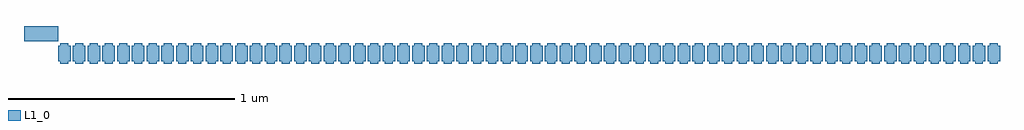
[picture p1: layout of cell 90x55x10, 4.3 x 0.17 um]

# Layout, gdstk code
import gdstk
lib = gdstk.Library(unit=1e-6, precision=1e-09)
def R(c, l, rs):  # rectangles x0, y0, x1, y1
    for r in rs: c.add(gdstk.rectangle(r[:2], r[2:], *l))
def P(c, l, *ps):  # polygons
    for p in ps: c.add(gdstk.Polygon(p, *l))
L1_0 = (1, 0)

c_90x55single = lib.new_cell('90x55single')
P(c_90x55single, L1_0, [(0,0),(0.01,0),(0.01,-0.01),(0.045,-0.01),(0.045,0),(0.055,0),(0.055,0.07),(0.045,0.07),(0.045,0.08),(0.01,0.08),(0.01,0.07),(0,0.07)])

c_90x55x10 = lib.new_cell('90x55x10')
R(c_90x55x10, L1_0, [(-0.15,0.1,0,0.165)])
r = gdstk.Reference(c_90x55single, (0,0.01)); r.repetition = gdstk.Repetition(64, 1, v1=(0.065,0), v2=(0,0)); c_90x55x10.add(r)

lib.write_gds('90x55x10.gds')
